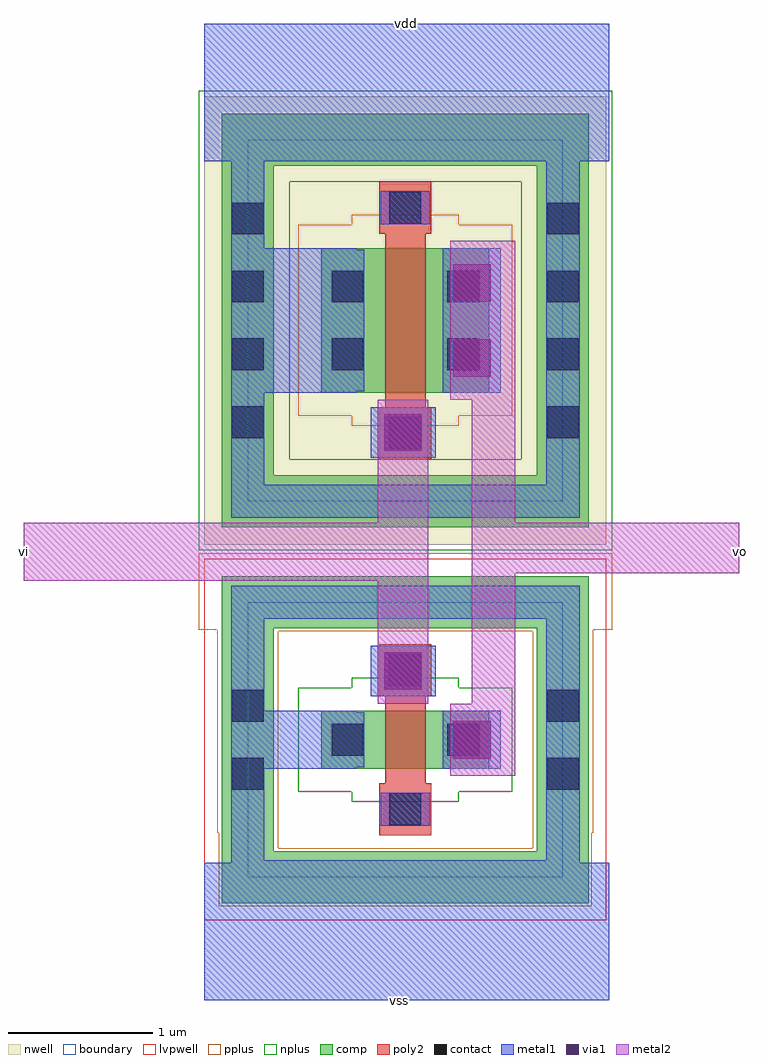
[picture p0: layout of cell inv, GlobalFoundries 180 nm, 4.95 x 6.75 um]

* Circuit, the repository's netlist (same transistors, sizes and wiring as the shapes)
** sch_path: /foss/designs/comparator/inv.sch
**.subckt inv vdd vi vo vss
*.iopin vdd
*.iopin vss
*.ipin vi
*.opin vo
XM1 vo vi vss vss nfet_03v3 L=0.28u W=0.4u nf=1 ad='int((nf+1)/2) * W/nf * 0.18u' as='int((nf+2)/2) * W/nf * 0.18u' pd='2*int((nf+1)/2) * (W/nf + 0.18u)'
+ ps='2*int((nf+2)/2) * (W/nf + 0.18u)' nrd='0.18u / W' nrs='0.18u / W' sa=0 sb=0 sd=0 m=1
XM2 vo vi vdd vdd pfet_03v3 L=0.28u W=1u nf=1 ad='int((nf+1)/2) * W/nf * 0.18u' as='int((nf+2)/2) * W/nf * 0.18u' pd='2*int((nf+1)/2) * (W/nf + 0.18u)'
+ ps='2*int((nf+2)/2) * (W/nf + 0.18u)' nrd='0.18u / W' nrs='0.18u / W' sa=0 sb=0 sd=0 m=1
**.ends
.end

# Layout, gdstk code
import gdstk
lib = gdstk.Library(unit=1e-6, precision=1e-09)
def R(c, l, rs):  # rectangles x0, y0, x1, y1
    for r in rs: c.add(gdstk.rectangle(r[:2], r[2:], *l))
def A(c, l, x, y, w, h, nx, ny, dx, dy):  # array of equal rectangles
    R(c, l, [(x+i*dx, y+j*dy, x+i*dx+w, y+j*dy+h) for i in range(nx) for j in range(ny)])
boundary = (0, 0)
nwell = (21, 0)
comp = (22, 0)
poly2 = (30, 0)
pplus = (31, 0)
nplus = (32, 0)
contact = (33, 0)
metal1 = (34, 0)
via1 = (35, 0)
metal2 = (36, 0)
lvpwell = (204, 0)

pfet_03v3_vjf862 = lib.new_cell('pfet_03v3_VJF862')
R(pfet_03v3_vjf862, boundary, [(-1.09,-1.25,1.09,1.25)])
R(pfet_03v3_vjf862, nwell, [(-1.39,-1.55,1.39,1.55)])
R(pfet_03v3_vjf862, comp, [(-1.27,-1.43,1.27,-1.07), (-1.27,-1.07,-0.91,1.07), (0.91,-1.07,1.27,1.07), (-0.58,-0.5,0.58,0.5), (-1.27,1.07,1.27,1.43)])
R(pfet_03v3_vjf862, poly2, [(-0.18,-0.96,0.18,-0.6), (-0.14,-0.6,0.14,0.6), (-0.18,0.6,0.18,0.96)])
R(pfet_03v3_vjf862, pplus, [(-0.37,-0.73,0.37,-0.66), (-0.74,-0.66,0.74,0.66), (-0.37,0.66,0.37,0.73)])
R(pfet_03v3_vjf862, nplus, [(-1.43,-1.59,1.43,-0.96), (-1.43,-0.96,-0.8,0.96), (0.8,-0.96,1.43,0.96), (-1.43,0.96,1.43,1.59)])
A(pfet_03v3_vjf862, contact, -1.2, -0.815, 0.22, 0.22, 1, 4, 0, 0.47)
A(pfet_03v3_vjf862, contact, 0.98, -0.815, 0.22, 0.22, 1, 4, 0, 0.47)
R(pfet_03v3_vjf862, contact, [(-0.11,-0.89,0.11,-0.67), (-0.51,-0.345,-0.29,-0.125), (0.29,-0.345,0.51,-0.125), (-0.51,0.125,-0.29,0.345), (0.29,0.125,0.51,0.345), (-0.11,0.67,0.11,0.89)])
R(pfet_03v3_vjf862, metal1, [(-1.205,-1.365,1.205,-1.135), (-1.205,-1.135,-0.975,1.135), (0.975,-1.135,1.205,1.135), (-0.17,-0.895,0.17,-0.665), (-0.515,-0.49,-0.285,0.49), (0.285,-0.49,0.515,0.49), (-0.17,0.665,0.17,0.895), (-1.205,1.135,1.205,1.365)])

nfet_03v3_z8672t = lib.new_cell('nfet_03v3_Z8672T')
R(nfet_03v3_z8672t, boundary, [(-1.09,-0.95,1.09,0.95)])
R(nfet_03v3_z8672t, comp, [(-1.27,-1.13,1.27,-0.77), (-1.27,-0.77,-0.91,0.77), (0.91,-0.77,1.27,0.77), (-0.58,-0.2,0.58,0.2), (-1.27,0.77,1.27,1.13)])
R(nfet_03v3_z8672t, poly2, [(-0.18,-0.66,0.18,-0.3), (-0.14,-0.3,0.14,0.3), (-0.18,0.3,0.18,0.66)])
R(nfet_03v3_z8672t, pplus, [(-1.29,-1.15,1.29,-0.75), (-1.29,-0.75,-0.88,-0.645), (0.88,-0.75,1.29,-0.645), (-1.3,-0.645,-0.88,0.645), (0.88,-0.645,1.3,0.645), (-1.29,0.645,-0.88,0.75), (0.88,0.645,1.29,0.75), (-1.29,0.75,1.29,1.15)])
R(nfet_03v3_z8672t, nplus, [(-0.37,-0.43,0.37,-0.36), (-0.74,-0.36,0.74,0.36), (-0.37,0.36,0.37,0.43)])
R(nfet_03v3_z8672t, contact, [(-0.11,-0.59,0.11,-0.37), (-1.2,-0.345,-0.98,-0.125), (0.98,-0.345,1.2,-0.125), (-0.51,-0.11,-0.29,0.11), (0.29,-0.11,0.51,0.11), (-1.2,0.125,-0.98,0.345), (0.98,0.125,1.2,0.345), (-0.11,0.37,0.11,0.59)])
R(nfet_03v3_z8672t, metal1, [(-1.205,-1.065,1.205,-0.835), (-1.205,-0.835,-0.975,0.835), (0.975,-0.835,1.205,0.835), (-0.17,-0.595,0.17,-0.365), (-0.515,-0.19,-0.285,0.19), (0.285,-0.19,0.515,0.19), (-0.17,0.365,0.17,0.595), (-1.205,0.835,1.205,1.065)])
R(nfet_03v3_z8672t, lvpwell, [(-1.39,-1.25,1.39,1.25)])

inv = lib.new_cell('inv')
R(inv, pplus, [(-0.21,1.595,-0.2,1.71), (2.38,1.595,2.39,1.71), (-0.34,1.71,-0.2,2.1), (2.38,1.71,2.52,2.1), (-0.34,2.1,2.52,2.24)])
R(inv, metal1, [(-0.3,-0.85,2.5,0.1), (-0.1,0.75,0.75,1.15), (1.35,0.75,1.75,1.15), (0.85,1.25,1.3,1.6), (0.85,2.9,1.3,3.25), (-0.1,3.35,0.75,4.35), (1.35,3.35,1.75,4.35), (-0.3,4.95,2.5,5.9)])
R(inv, via1, [(1.42,0.82,1.68,1.08), (0.945,1.295,1.205,1.555), (0.945,2.945,1.205,3.205), (1.42,3.46,1.68,3.72), (1.42,3.98,1.68,4.24)])
R(inv, metal2, [(1.4,0.7,1.85,1.2), (0.9,1.2,1.25,2.05), (1.55,1.2,1.85,2.1), (-1.55,2.05,1.25,2.45), (1.55,2.1,3.4,2.45), (0.9,2.45,1.25,3.3), (1.55,2.45,1.85,3.3), (1.4,3.3,1.85,4.4)])
inv.add(gdstk.Reference(pfet_03v3_vjf862, (1.09,3.85)))
inv.add(gdstk.Reference(nfet_03v3_z8672t, (1.09,0.95)))
inv.add(gdstk.Label('vdd', (1.1,5.9), layer=34, texttype=10))
inv.add(gdstk.Label('vss', (1.05,-0.85), layer=34, texttype=10))
inv.add(gdstk.Label('vi', (-1.55,2.25), layer=36, texttype=10))
inv.add(gdstk.Label('vo', (3.4,2.25), layer=36, texttype=10))

lib.write_gds('inv.gds')
